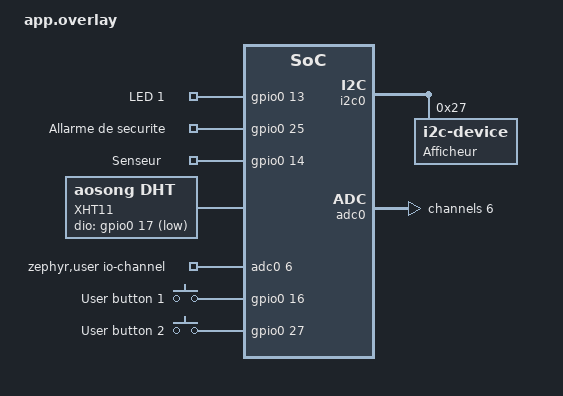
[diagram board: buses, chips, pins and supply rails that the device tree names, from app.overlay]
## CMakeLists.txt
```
# SPDX-License-Identifier: Apache-2.0

cmake_minimum_required(VERSION 3.20.0)

find_package(Zephyr REQUIRED HINTS $ENV{ZEPHYR_BASE})
project(PROJET-2-SNIOT_Zephyr_home)

target_sources(app PRIVATE 
src/main.c
src/lcd_screen_i2c.c
)
```

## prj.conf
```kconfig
# Sensor
CONFIG_I2C=y
CONFIG_SENSOR=y
CONFIG_ADC=y
CONFIG_GPIO=y
CONFIG_CBPRINTF_FP_SUPPORT=y
```

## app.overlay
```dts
/ {
    gpio_keys {
    compatible = "gpio-keys";
        ledyellow: led_yellow {
            gpios = <&gpio0 13 GPIO_ACTIVE_HIGH>;
            label = "LED 1";
        };
        buzzer: buzzer {
            gpios = <&gpio0 25 GPIO_ACTIVE_HIGH>;
            label = "Allarme de securite";
        };

        irsensor: irsensor {
            gpios = <&gpio0 14 GPIO_ACTIVE_HIGH>;
            label = " Senseur ";
        };
    };

    dht11: dht11 {
        compatible = "aosong,dht";
        status = "okay";
        dio-gpios = <&gpio0 17 GPIO_ACTIVE_LOW>;
        label = "XHT11";
    };

    zephyr,user {
		io-channels =
			<&adc0 6>;
	};

    buttons {
        compatible = "gpio-keys";
            button_16: button_16 {
                gpios = <&gpio0 16 GPIO_ACTIVE_HIGH>;
                label = "User button 1";
            };
            button_27: button_27 {
                gpios = <&gpio0 27 GPIO_ACTIVE_HIGH>;
                label = "User button 2";
            };
        };

    
    aliases {
        led-yellow = &ledyellow;
        display = &display;
        capteur = &dht11;
        button1 = &button_16;
        button2 = &button_27;
        buzzer = &buzzer;
        irsensor = &irsensor;
        
    };

};



&i2c0 {
    display: I2c_display@27 {
        compatible = "i2c-device";
        reg = <0x27>;
        label = "Afficheur";
    };
};

&adc0 {
	status = "okay";
	#address-cells = <1>;
	#size-cells = <0>;

	channel@6 {
		reg = <6>;
		zephyr,gain = "ADC_GAIN_1_4";
		zephyr,reference = "ADC_REF_INTERNAL";
		zephyr,acquisition-time = <ADC_ACQ_TIME_DEFAULT>;
		zephyr,resolution = <12>;
	};
};
```

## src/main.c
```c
/*
 * Copyright (c) 2012-2014 Wind River Systems, Inc.
 *
 * SPDX-License-Identifier: Apache-2.0
 */

#include<stdio.h>
#include <zephyr/kernel.h>
#include <zephyr/drivers/gpio.h>
#include "../inc/lcd_screen_i2c.h"
#include <zephyr/drivers/i2c.h>
#include <zephyr/drivers/adc.h>
#include <zephyr/device.h>
#include <zephyr/drivers/sensor.h>

#define LED_YELLOW_NODE DT_ALIAS(led_yellow)
#define DISPLAY_NODE DT_ALIAS(display)
#define CAPTOR_NODE DT_ALIAS(capteur)
#define SW0_NODE	DT_ALIAS(button1)
#define SW1_NODE	DT_ALIAS(button2)
#define BUZZER_NODE	DT_ALIAS(buzzer)
#define IR_SENSOR_NODE	DT_ALIAS(irsensor)

// La LED
const struct gpio_dt_spec led_yellow_gpio = GPIO_DT_SPEC_GET_OR(LED_YELLOW_NODE, gpios, {0});
// L'ecran
const struct i2c_dt_spec display_i2c = I2C_DT_SPEC_GET(DISPLAY_NODE);
//Le capteur temp / humi
const struct device *capteur_T_H = DEVICE_DT_GET_ANY(aosong_dht);
//Steam sensor
static const struct adc_dt_spec adc_channel = ADC_DT_SPEC_GET(DT_PATH(zephyr_user));
//static const struct adc_dt_spec adc_channel = ADC_DT_SPEC_GET_BY_IDX(DT_PATH(zephyr_user),0);
// Les bouttons
static const struct gpio_dt_spec button1 = GPIO_DT_SPEC_GET_OR(SW0_NODE, gpios, {0});
static struct gpio_callback button1_cb_data;
static const struct gpio_dt_spec button2 = GPIO_DT_SPEC_GET_OR(SW1_NODE, gpios, {0});
static struct gpio_callback button2_cb_data;
// Buzzer
static const struct gpio_dt_spec buzzer = GPIO_DT_SPEC_GET_OR(BUZZER_NODE, gpios, {0});
// SENSEUR IR
const struct gpio_dt_spec irsensor = GPIO_DT_SPEC_GET_OR(IR_SENSOR_NODE, gpios, {0});

int allumage = 0;
int disp_init = 0;
int alarme = 0;


void button_pressed(const struct device *dev, struct gpio_callback *cb, uint32_t pins)
{
	printk("Button Allumage pressed \n");
	allumage = 1;

}

void button_pressed2(const struct device *dev, struct gpio_callback *cb, uint32_t pins)
{
	printk("Button Extinction pressed \n");
	allumage = -1;
}


int main(void)
{
	int err;
	int32_t val_mv;
	uint16_t buf;
	struct adc_sequence sequence = {
		.buffer = &buf,
		/* buffer size in bytes, not number of samples */
		.buffer_size = sizeof(buf),
	};

	printf("INITIALISATION sur ! %s\n", CONFIG_BOARD);
	// Allumage LED
	gpio_pin_configure_dt(&led_yellow_gpio, GPIO_OUTPUT_LOW);
	gpio_pin_configure_dt(&buzzer, GPIO_OUTPUT_LOW);
	//Init lcd
	init_lcd(&display_i2c);
	// init steam seansor
	(void)adc_sequence_init_dt(&adc_channel, &sequence);
	err = adc_channel_setup_dt(&adc_channel);
	//boutton 1 
	err = gpio_pin_configure_dt(&button1, GPIO_INPUT);
	err = gpio_pin_interrupt_configure_dt(&button1, GPIO_INT_EDGE_TO_ACTIVE);
	gpio_init_callback(&button1_cb_data, button_pressed, BIT(button1.pin));
	gpio_add_callback(button1.port, &button1_cb_data);
	//boutton 2
	err = gpio_pin_configure_dt(&button2, GPIO_INPUT);
	err = gpio_pin_interrupt_configure_dt(&button2, GPIO_INT_EDGE_TO_ACTIVE);
	gpio_init_callback(&button2_cb_data, button_pressed2, BIT(button2.pin));
	gpio_add_callback(button2.port, &button2_cb_data);
	while (1) 
	{
		if(allumage == 1)
		{
			alarme = 0;
			//Clear command of the screen
			lcd_byte(&display_i2c, 0x01, LCD_CMD);
			// Allumage LED
			gpio_pin_set_dt(&led_yellow_gpio, 1);
			if(disp_init == 0)
			{
				printk(" Allumage ! \n");
				write_lcd(&display_i2c," Allumage ! ",LCD_LINE_1);
				disp_init = 1;
			}
			k_sleep(K_MSEC(1000));
			//Gestion du capteur humidity and temperature
			struct sensor_value temp, humidity;
			sensor_sample_fetch(capteur_T_H);
			sensor_channel_get(capteur_T_H, SENSOR_CHAN_AMBIENT_TEMP, &temp);
			sensor_channel_get(capteur_T_H, SENSOR_CHAN_HUMIDITY, &humidity);
			printk(" Temp: %d.%06d; Humidity: %d.%06d\n", temp.val1, temp.val2, humidity.val1, humidity.val2);
			//Gestion display LCD
			char caract[16];
			char caract2[16];
			sprintf(caract,"humidity: %d.%02d", humidity.val1, humidity.val2);
			sprintf(caract2,"temp: %d.%02d   ", temp.val1, temp.val2);
			write_lcd(&display_i2c,caract,LCD_LINE_1);
			write_lcd(&display_i2c,caract2,LCD_LINE_2);
			k_sleep(K_MSEC(1000));
			//Steam sensor definition and measure
			err = adc_read_dt(&adc_channel, &sequence);
			val_mv = (int32_t)buf;
			err = adc_raw_to_millivolts_dt(&adc_channel, &val_mv);
			double volts = val_mv / 1000.0;
			char caract3[16];
			printf("Tension Steam sensor : %.3f\n", volts);
			sprintf(caract3," %f", volts);
			write_lcd(&display_i2c," Steam sensor :",LCD_LINE_1);
			write_lcd(&display_i2c,caract3,LCD_LINE_2);
			k_sleep(K_MSEC(1000));
			//Clear command of the screen
			lcd_byte(&display_i2c, 0x01, LCD_CMD);
		} else if(allumage == -1)
		{
			alarme = 0;
			//Clear command of the screen
			lcd_byte(&display_i2c, 0x01, LCD_CMD);
			// Allumage LED
			gpio_pin_set_dt(&led_yellow_gpio, 0);
			printk(" Extinction ! \n");
			write_lcd(&display_i2c," Extinction ! ",LCD_LINE_1);
			k_sleep(K_MSEC(1000));
			//Clear command of the screen
			lcd_byte(&display_i2c, 0x01, LCD_CMD);
			disp_init = 0;
			allumage = 0;
		} 
		if(alarme == 1)
		{
			//Clear command of the screen
			lcd_byte(&display_i2c, 0x01, LCD_CMD);
			//Affichage de detection
			write_lcd(&display_i2c," PRESENCE ",LCD_LINE_1);
			write_lcd(&display_i2c," DETECTE ",LCD_LINE_2);
			k_sleep(K_MSEC(1000));
		}
		k_sleep(K_MSEC(1000));
	}
	printf(" Sortie PRG \n");
	//Clear command of the screen
	lcd_byte(&display_i2c, 0x01, LCD_CMD);
	return 0;
}

void compute_thread(){
	int err;
	//IR sensor
	//err = gpio_pin_configure_dt(&irsensor, GPIO_INPUT);
	//printk("Value of error is %d\n", err);
	while(1)
	{
		alarme = gpio_pin_get_dt(&irsensor);
		if(alarme == 1)
		{
			//printk("Value of alarme is %d\n", alarme);
			//Lumière et buzzer
			gpio_pin_set_dt(&buzzer, 1);
			gpio_pin_set_dt(&led_yellow_gpio, 1);
			k_sleep(K_MSEC(100));
			gpio_pin_set_dt(&buzzer, 0);
			gpio_pin_set_dt(&led_yellow_gpio, 0);
			k_sleep(K_MSEC(100));
		}
	}
}

K_THREAD_DEFINE(compute_thread_id, 521, compute_thread, NULL, NULL, NULL, 9, 0, 0);
```

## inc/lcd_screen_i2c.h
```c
/**
 * Author: Vivien Debuchy
 * Simple library for LCD-1602 I2C
 * Based on https://github.com/sterlingbeason/LCD-1602-I2C
 */

#ifndef INC_LDC_SCREEN_I2C_H_
#define INC_LDC_SCREEN_I2C_H_

#include <zephyr/types.h>

struct i2c_dt_spec;

#define LCD_BACKLIGHT 0x08
#define LCD_CMD 0x00
#define LCD_CHR 0x01
#define LCD_ENABLE 0b00000100
#define LCD_LINE_1 0x80 // Select line 1
#define LCD_LINE_2 0xc0 // Select line 2
#define LCD_WIDTH 16    // Max number of carac per lines

#define HELLO_MSG "Hello !"
#define ZEPHYR_MSG "Zephyr is cool"

#define START_ALERT_MONITORING_MSG_1 "Alarm"
#define START_ALERT_MONITORING_MSG_2 "Protection"

#define INTRUDER_MSG_1 "INTRUDER"
#define INTRUDER_MSG_2 "LEAVE !"

void init_lcd(const struct i2c_dt_spec *_dev_lcd_screen);
void write_lcd(const struct i2c_dt_spec *dev_lcd_screen, const char *msg, uint8_t line);
void write_lcd_clear(const struct i2c_dt_spec *dev_lcd_screen, const char *msg, uint8_t line);
void lcd_byte(const struct i2c_dt_spec *dev_lcd_screen, uint8_t bits, uint8_t mode);

#endif // INC_LDC_SCREEN_I2C_H_
```

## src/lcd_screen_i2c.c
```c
#include "../inc/lcd_screen_i2c.h"
#include <zephyr/drivers/i2c.h>
#include <zephyr/kernel.h>

static void lcd_toggle_enable(const struct i2c_dt_spec *dev_lcd_screen, uint8_t bits);
//static void lcd_byte(const struct i2c_dt_spec *dev_lcd_screen, uint8_t bits, uint8_t mode);

void init_lcd(const struct i2c_dt_spec *dev_lcd_screen)
{
    lcd_byte(dev_lcd_screen, 0x33, LCD_CMD);
    lcd_byte(dev_lcd_screen, 0x32, LCD_CMD);
    lcd_byte(dev_lcd_screen, 0x06, LCD_CMD);
    lcd_byte(dev_lcd_screen, 0x0c, LCD_CMD);
    lcd_byte(dev_lcd_screen, 0x28, LCD_CMD);
    lcd_byte(dev_lcd_screen, 0x01, LCD_CMD);
    write_lcd(dev_lcd_screen, HELLO_MSG, LCD_LINE_1);
    write_lcd(dev_lcd_screen, ZEPHYR_MSG, LCD_LINE_2);
}

void lcd_byte(const struct i2c_dt_spec *dev_lcd_screen, uint8_t bits, uint8_t mode)
{
    int ret = 0;
    uint8_t bits_high = mode | (bits & 0xf0) | LCD_BACKLIGHT;
    uint8_t bits_low = mode | ((bits << 4) & 0xf0) | LCD_BACKLIGHT;
    ret = i2c_write_dt(dev_lcd_screen, &bits_high, sizeof(bits_high));
    if (ret != 0)
    {
        printk("ERROR while writing to I2C");
    }
    lcd_toggle_enable(dev_lcd_screen, bits_high);

    ret = i2c_write_dt(dev_lcd_screen, &bits_low, sizeof(bits_low));
    if (ret != 0)
    {
        printk("ERROR while writing to I2C");
    }
    lcd_toggle_enable(dev_lcd_screen, bits_low);
}

void write_lcd(const struct i2c_dt_spec *dev_lcd_screen, const char *msg, uint8_t line)
{
    lcd_byte(dev_lcd_screen, line, LCD_CMD);

    // Todo: fill the array with space at the end to complete the line

    if (strlen(msg) > LCD_WIDTH)
    {
        return;
    }
    for (uint8_t i = 0; i < strlen(msg); i++)
    {
        lcd_byte(dev_lcd_screen, msg[i], LCD_CHR);
    }
}

static void lcd_toggle_enable(const struct i2c_dt_spec *dev_lcd_screen, uint8_t bits)
{
    int ret = 0;
    k_sleep(K_MSEC(5));
    uint8_t bits1 = bits | LCD_ENABLE;
    ret = i2c_write_dt(dev_lcd_screen, &bits1, sizeof(bits1));
    if (ret != 0)
    {
        printk("ERROR while writing to I2C");
    }
    k_sleep(K_MSEC(5));
    uint8_t bits2 = bits & ~LCD_ENABLE;
    ret = i2c_write_dt(dev_lcd_screen, &bits2, sizeof(bits2));
    if (ret != 0)
    {
        printk("ERROR while writing to I2C");
    }
    k_sleep(K_MSEC(5));
}
```
